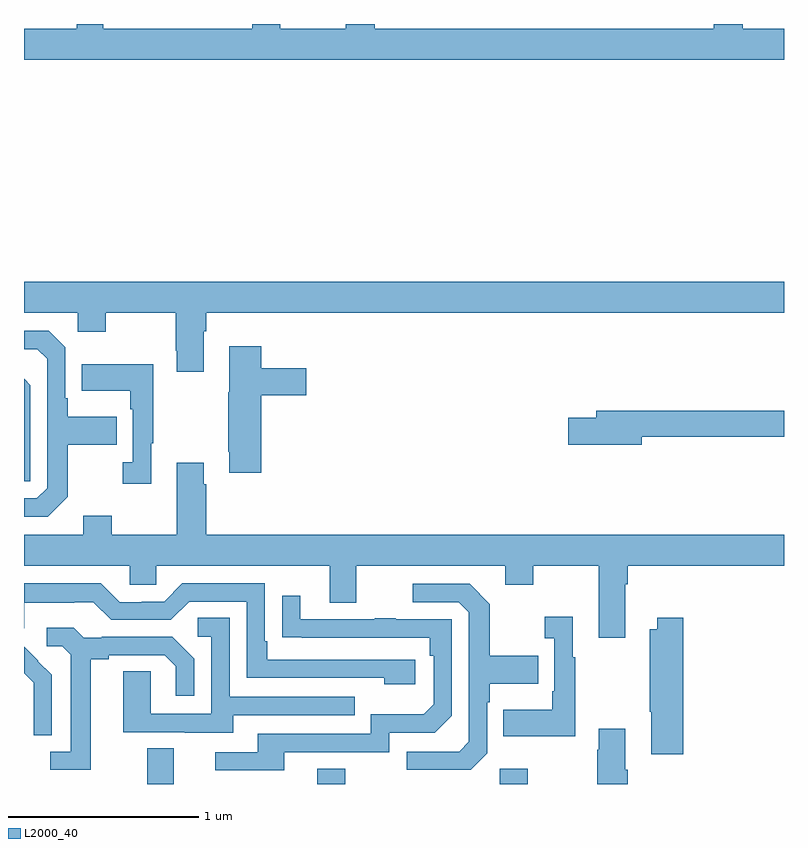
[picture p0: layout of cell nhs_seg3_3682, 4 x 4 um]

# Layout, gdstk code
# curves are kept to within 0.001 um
import gdstk
lib = gdstk.Library(unit=1e-6, precision=1e-09)
def R(c, l, rs):  # rectangles x0, y0, x1, y1
    for r in rs: c.add(gdstk.rectangle(r[:2], r[2:], *l))
def P(c, l, *ps):  # polygons
    for p in ps: c.add(gdstk.Polygon(p, *l))
L2000_40 = (2000, 40)

nhs_seg3_3682 = lib.new_cell('nhs_seg3_3682')
R(nhs_seg3_3682, L2000_40, [(301.649,734.4,301.789,734.588), (302.543,734.4,302.691,734.479), (303.504,734.4,303.651,734.479)])
P(nhs_seg3_3682, L2000_40, [(302.201,738.4),(302.201,738.376),(301.417,738.376),(301.417,738.4),(301.277,738.4),(301.277,738.376),(301,738.376),(301,738.212),(305,738.212),(305,738.376),(304.783,738.376),(304.783,738.4),(304.631,738.4),(304.631,738.376),(302.846,738.376),(302.846,738.4),(302.693,738.4),(302.693,738.376),(302.349,738.376),(302.349,738.4)],
  [(301.945,736.784),(301.958,736.784),(301.958,736.88),(305,736.88),(305,737.044),(301,737.044),(301,736.88),(301.284,736.88),(301.284,736.781),(301.431,736.781),(301.431,736.88),(301.798,736.88),(301.798,736.681),(301.805,736.681),(301.805,736.569),(301.945,736.569)],
  [(301.231,735.913),(301.231,736.186),(301.487,736.186),(301.487,736.333),(301.231,736.333),(301.231,736.429),(301.218,736.429),(301.218,736.698),(301.131,736.785),(301,736.785),(301,736.689),(301.071,736.689),(301.122,736.638),(301.122,735.957),(301.068,735.903),(301,735.903),(301,735.807),(301.125,735.807)],
  [(302.249,736.445),(302.485,736.445),(302.485,736.587),(302.249,736.587),(302.249,736.705),(302.081,736.705),(302.081,736.461),(302.074,736.461),(302.074,736.15),(302.081,736.15),(302.081,736.038),(302.249,736.038)],
  [(301.669,736.193),(301.681,736.193),(301.681,736.609),(301.303,736.609),(301.303,736.469),(301.56,736.469),(301.56,736.373),(301.572,736.373),(301.572,736.094),(301.521,736.094),(301.521,735.981),(301.669,735.981)],
  [(301.032,736.5),(301,736.532),(301,735.993),(301.032,735.993)],
  [(304.252,736.228),(305,736.228),(305,736.364),(304.013,736.364),(304.013,736.328),(303.864,736.328),(303.864,736.186),(304.252,736.186)],
  [(304.165,735.452),(304.178,735.452),(304.178,735.548),(305,735.548),(305,735.712),(301.958,735.712),(301.958,735.977),(301.945,735.977),(301.945,736.09),(301.805,736.09),(301.805,735.712),(301.461,735.712),(301.461,735.811),(301.313,735.811),(301.313,735.712),(301,735.712),(301,735.548),(301.557,735.548),(301.557,735.45),(301.695,735.45),(301.695,735.548),(302.609,735.548),(302.609,735.354),(302.749,735.354),(302.749,735.548),(303.533,735.548),(303.533,735.449),(303.681,735.449),(303.681,735.548),(304.025,735.548),(304.025,735.171),(304.165,735.171)],
  [(303.058,735.054),(302.281,735.054),(302.281,735.151),(302.268,735.151),(302.268,735.456),(301.833,735.456),(301.737,735.36),(301.619,735.36),(301.619,735.357),(301.503,735.357),(301.403,735.457),(301,735.457),(301,735.219),(301.002,735.219),(301.002,735.353),(301.265,735.353),(301.265,735.357),(301.365,735.357),(301.458,735.264),(301.773,735.264),(301.869,735.36),(302.172,735.36),(302.172,734.958),(302.897,734.958),(302.897,734.924),(303.058,734.924)],
  [(303.438,734.562),(303.438,734.831),(303.451,734.831),(303.451,734.927),(303.707,734.927),(303.707,735.075),(303.451,735.075),(303.451,735.347),(303.345,735.453),(303.045,735.453),(303.045,735.357),(303.288,735.357),(303.342,735.303),(303.342,734.622),(303.291,734.571),(303.015,734.571),(303.015,734.475),(303.351,734.475)],
  [(302.371,734.568),(302.922,734.568),(302.922,734.67),(303.162,734.67),(303.252,734.76),(303.252,735.267),(302.957,735.267),(302.957,735.272),(302.845,735.272),(302.845,735.267),(302.455,735.267),(302.455,735.391),(302.359,735.391),(302.359,735.172),(303.136,735.171),(303.136,735.074),(303.156,735.074),(303.156,734.82),(303.103,734.767),(302.826,734.767),(302.826,734.664),(302.231,734.664),(302.231,734.568),(302.007,734.568),(302.007,734.472),(302.371,734.472)],
  [(303.901,735.067),(303.889,735.067),(303.889,735.28),(303.741,735.28),(303.741,735.167),(303.792,735.167),(303.792,734.887),(303.78,734.887),(303.78,734.791),(303.523,734.791),(303.523,734.651),(303.901,734.651)],
  [(302.101,734.763),(302.741,734.763),(302.741,734.859),(302.082,734.859),(302.082,735.275),(301.914,735.275),(301.914,735.174),(301.986,735.174),(301.986,734.769),(301.668,734.769),(301.668,734.993),(301.523,734.993),(301.523,734.673),(301.847,734.673),(301.847,734.669),(302.101,734.669)],
  [(304.469,735.274),(304.334,735.274),(304.334,735.214),(304.294,735.214),(304.294,734.779),(304.301,734.779),(304.301,734.556),(304.469,734.556)],
  [(301.351,735.056),(301.447,735.056),(301.447,735.078),(301.742,735.078),(301.799,735.021),(301.799,734.865),(301.896,734.865),(301.896,735.058),(301.78,735.174),(301.408,735.174),(301.408,735.171),(301.314,735.171),(301.262,735.223),(301.119,735.223),(301.119,735.126),(301.2,735.126),(301.247,735.079),(301.247,734.571),(301.137,734.571),(301.137,734.475),(301.351,734.475)],
  [(301.146,734.974),(301.073,735.047),(301.074,735.048),(301,735.122),(301,734.984),(301.052,734.933),(301.052,734.81),(301.05,734.81),(301.05,734.656),(301.146,734.656)],
  [(304.178,734.476),(304.165,734.476),(304.165,734.692),(304.025,734.692),(304.025,734.579),(304.018,734.579),(304.018,734.4),(304.178,734.4)])

lib.write_gds('nhs_seg3_3682.gds')
